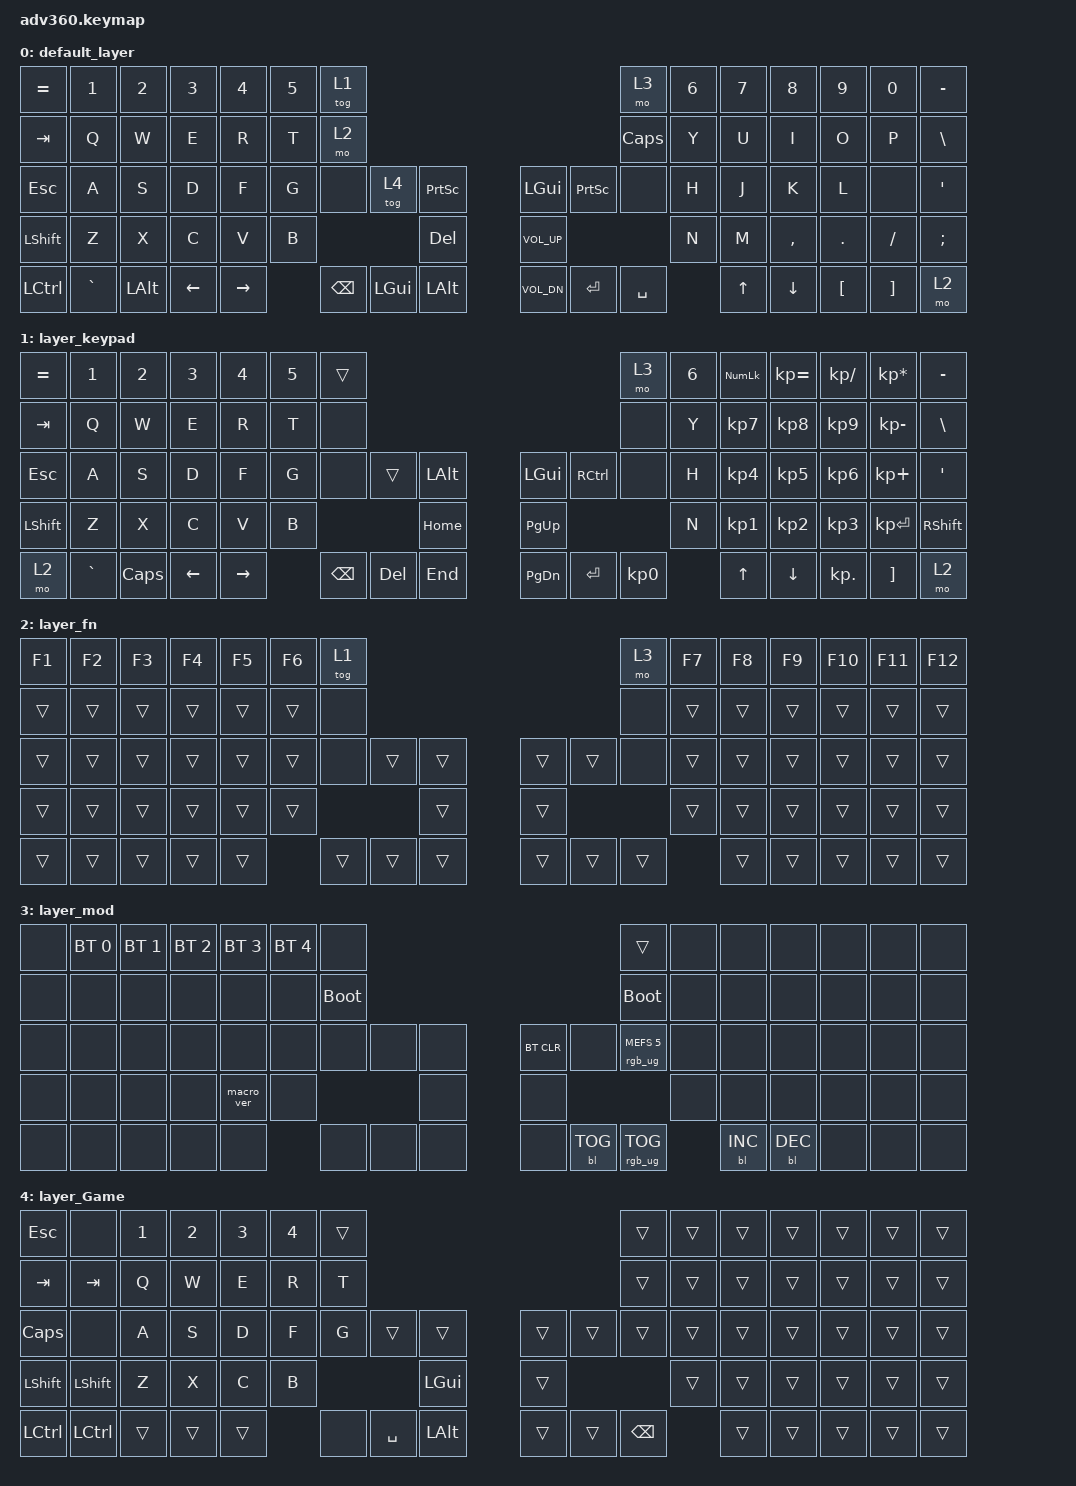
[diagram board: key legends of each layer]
/*
 * Copyright (c) 2020 The ZMK Contributors
 *
 * SPDX-License-Identifier: MIT
 */
/* THIS FILE WAS GENERATED!
 *
 * This file was generated automatically. You may or may not want to
 * edit it directly.
 */

#include <behaviors.dtsi>
#include <dt-bindings/zmk/backlight.h>
#include <dt-bindings/zmk/bt.h>
#include <dt-bindings/zmk/keys.h>
#include <dt-bindings/zmk/rgb.h>

/ {
    behaviors {
        #include "macros.dtsi"
    #include "version.dtsi"

        hm: homerow_mods {
            compatible = "zmk,behavior-hold-tap";
            label = "HOMEROW_MODS";
            #binding-cells = <2>;
            tapping-term-ms = <200>;
            quick_tap_ms = <175>;
            flavor = "tap-preferred";
            bindings = <&kp>, <&kp>;
        };
    };

    keymap {
        compatible = "zmk,keymap";

        default_layer {
            bindings = <
&kp EQUAL  &kp N1     &kp N2    &kp N3    &kp N4     &kp N5  &tog 1                                                                  &mo 3      &kp N6  &kp N7  &kp N8     &kp N9    &kp N0    &kp MINUS
&kp TAB    &kp Q      &kp W     &kp E     &kp R      &kp T   &mo 2                                                                   &kp CAPS   &kp Y   &kp U   &kp I      &kp O     &kp P     &kp BSLH
&kp ESC    &kp A      &kp S     &kp D     &kp F      &kp G   &none     &tog 4    &kp PRINTSCREEN      &kp LGUI      &kp PRINTSCREEN  &none      &kp H   &kp J   &kp K      &kp L     &none     &kp SQT
&kp LSHFT  &kp Z      &kp X     &kp C     &kp V      &kp B                       &kp DEL              &kp C_VOL_UP                              &kp N   &kp M   &kp COMMA  &kp DOT   &kp FSLH  &kp SEMI
&kp LCTRL  &kp GRAVE  &kp LALT  &kp LEFT  &kp RIGHT          &kp BSPC  &kp LGUI  &kp LALT             &kp C_VOL_DN  &kp ENTER        &kp SPACE          &kp UP  &kp DOWN   &kp LBKT  &kp RBKT  &mo 2
            >;
        };

        layer_keypad {
            bindings = <
&kp EQUAL  &kp N1     &kp N2    &kp N3    &kp N4     &kp N5  &trans                                                 &mo 3      &kp N6  &kp KP_NUM  &kp KP_EQUAL  &kp KP_DIVIDE  &kp KP_MULTIPLY  &kp MINUS
&kp TAB    &kp Q      &kp W     &kp E     &kp R      &kp T   &none                                                  &none      &kp Y   &kp KP_N7   &kp KP_N8     &kp KP_N9      &kp KP_MINUS     &kp BSLH
&kp ESC    &kp A      &kp S     &kp D     &kp F      &kp G   &none     &trans   &kp LALT      &kp LGUI   &kp RCTRL  &none      &kp H   &kp KP_N4   &kp KP_N5     &kp KP_N6      &kp KP_PLUS      &kp SQT
&kp LSHFT  &kp Z      &kp X     &kp C     &kp V      &kp B                      &kp HOME      &kp PG_UP                        &kp N   &kp KP_N1   &kp KP_N2     &kp KP_N3      &kp KP_ENTER     &kp RSHFT
&mo 2      &kp GRAVE  &kp CAPS  &kp LEFT  &kp RIGHT          &kp BSPC  &kp DEL  &kp END       &kp PG_DN  &kp ENTER  &kp KP_N0          &kp UP      &kp DOWN      &kp KP_DOT     &kp RBKT         &mo 2
            >;
        };

        layer_fn {
            bindings = <
&kp F1  &kp F2  &kp F3  &kp F4  &kp F5  &kp F6  &tog 1                                      &mo 3   &kp F7  &kp F8  &kp F9  &kp F10  &kp F11  &kp F12
&trans  &trans  &trans  &trans  &trans  &trans  &none                                       &none   &trans  &trans  &trans  &trans   &trans   &trans
&trans  &trans  &trans  &trans  &trans  &trans  &none   &trans  &trans      &trans  &trans  &none   &trans  &trans  &trans  &trans   &trans   &trans
&trans  &trans  &trans  &trans  &trans  &trans                  &trans      &trans                  &trans  &trans  &trans  &trans   &trans   &trans
&trans  &trans  &trans  &trans  &trans          &trans  &trans  &trans      &trans  &trans  &trans          &trans  &trans  &trans   &trans   &trans
            >;
        };

        layer_mod {
            bindings = <
&none  &bt BT_SEL 0  &bt BT_SEL 1  &bt BT_SEL 2  &bt BT_SEL 3  &bt BT_SEL 4  &none                                                  &trans                  &none  &none       &none       &none  &none  &none
&none  &none         &none         &none         &none         &none         &bootloader                                            &bootloader             &none  &none       &none       &none  &none  &none
&none  &none         &none         &none         &none         &none         &none        &none  &none      &bt BT_CLR  &none       &rgb_ug RGB_MEFS_CMD 5  &none  &none       &none       &none  &none  &none
&none  &none         &none         &none         &macro_ver    &none                             &none      &none                                           &none  &none       &none       &none  &none  &none
&none  &none         &none         &none         &none                       &none        &none  &none      &none       &bl BL_TOG  &rgb_ug RGB_TOG                &bl BL_INC  &bl BL_DEC  &none  &none  &none
            >;
        };

        layer_Game {
            bindings = <
&kp ESC    &none      &kp N1  &kp N2  &kp N3  &kp N4  &trans                                           &trans    &trans  &trans  &trans  &trans  &trans  &trans
&kp TAB    &kp TAB    &kp Q   &kp W   &kp E   &kp R   &kp T                                            &trans    &trans  &trans  &trans  &trans  &trans  &trans
&kp CAPS   &none      &kp A   &kp S   &kp D   &kp F   &kp G   &trans     &trans        &trans  &trans  &trans    &trans  &trans  &trans  &trans  &trans  &trans
&kp LSHFT  &kp LSHFT  &kp Z   &kp X   &kp C   &kp B                      &kp LGUI      &trans                    &trans  &trans  &trans  &trans  &trans  &trans
&kp LCTRL  &kp LCTRL  &trans  &trans  &trans          &none   &kp SPACE  &kp LALT      &trans  &trans  &kp BSPC          &trans  &trans  &trans  &trans  &trans
            >;
        };
    };
};
